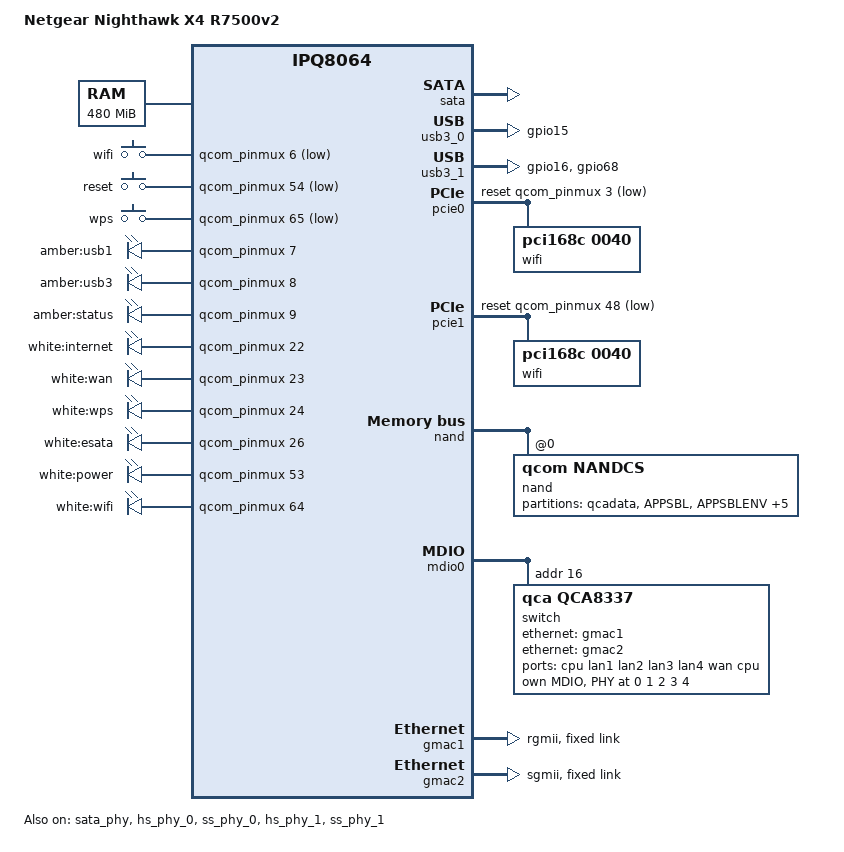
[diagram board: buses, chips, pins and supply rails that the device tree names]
#include "qcom-ipq8064-v2.0-smb208.dtsi"

#include <dt-bindings/input/input.h>

/ {
	model = "Netgear Nighthawk X4 R7500v2";
	compatible = "netgear,r7500v2", "qcom,ipq8064";

	memory@0 {
		reg = <0x42000000 0x1e000000>;
		device_type = "memory";
	};

	reserved-memory {
		rsvd@5fe00000 {
			reg = <0x5fe00000 0x200000>;
			reusable;
		};
	};

	aliases {
		mdio-gpio0 = &mdio0;

		led-boot = &power;
		led-failsafe = &power;
		led-running = &power;
		led-upgrade = &power;
	};

	chosen {
		bootargs = "rootfstype=squashfs noinitrd";
	};

	keys {
		compatible = "gpio-keys";
		pinctrl-0 = <&button_pins>;
		pinctrl-names = "default";

		wifi {
			label = "wifi";
			gpios = <&qcom_pinmux 6 GPIO_ACTIVE_LOW>;
			linux,code = <KEY_RFKILL>;
			debounce-interval = <60>;
			wakeup-source;
		};

		reset {
			label = "reset";
			gpios = <&qcom_pinmux 54 GPIO_ACTIVE_LOW>;
			linux,code = <KEY_RESTART>;
			debounce-interval = <60>;
			wakeup-source;
		};

		wps {
			label = "wps";
			gpios = <&qcom_pinmux 65 GPIO_ACTIVE_LOW>;
			linux,code = <KEY_WPS_BUTTON>;
			debounce-interval = <60>;
			wakeup-source;
		};
	};

	leds {
		compatible = "gpio-leds";
		pinctrl-0 = <&led_pins>;
		pinctrl-names = "default";

		usb1 {
			label = "amber:usb1";
			gpios = <&qcom_pinmux 7 GPIO_ACTIVE_HIGH>;
		};

		usb3 {
			label = "amber:usb3";
			gpios = <&qcom_pinmux 8 GPIO_ACTIVE_HIGH>;
		};

		status {
			label = "amber:status";
			gpios = <&qcom_pinmux 9 GPIO_ACTIVE_HIGH>;
		};

		internet {
			label = "white:internet";
			gpios = <&qcom_pinmux 22 GPIO_ACTIVE_HIGH>;
		};

		wan {
			label = "white:wan";
			gpios = <&qcom_pinmux 23 GPIO_ACTIVE_HIGH>;
		};

		wps {
			label = "white:wps";
			gpios = <&qcom_pinmux 24 GPIO_ACTIVE_HIGH>;
		};

		esata {
			label = "white:esata";
			gpios = <&qcom_pinmux 26 GPIO_ACTIVE_HIGH>;
		};

		power: power {
			label = "white:power";
			gpios = <&qcom_pinmux 53 GPIO_ACTIVE_HIGH>;
			default-state = "keep";
		};

		wifi {
			label = "white:wifi";
			gpios = <&qcom_pinmux 64 GPIO_ACTIVE_HIGH>;
		};
	};
};

&adm_dma {
	status = "okay";
};

&qcom_pinmux {
	button_pins: button_pins {
		mux {
			pins = "gpio6", "gpio54", "gpio65";
			function = "gpio";
			drive-strength = <2>;
			bias-pull-up;
		};
	};

	led_pins: led_pins {
		mux {
			pins = "gpio7", "gpio8", "gpio9", "gpio22", "gpio23",
				"gpio24","gpio26", "gpio53", "gpio64";
			function = "gpio";
			drive-strength = <2>;
			bias-pull-up;
		};
	};

	usb0_pwr_en_pins: usb0_pwr_en_pins {
		mux {
			pins = "gpio15";
			function = "gpio";
			drive-strength = <12>;
			bias-pull-down;
			output-high;
		};
	};

	usb1_pwr_en_pins: usb1_pwr_en_pins {
		mux {
			pins = "gpio16", "gpio68";
			function = "gpio";
			drive-strength = <12>;
			bias-pull-down;
			output-high;
		};
	};
};

&sata_phy {
	status = "okay";
};

&sata {
	status = "okay";
};

&hs_phy_0 {
	status = "okay";
};

&ss_phy_0 {
	status = "okay";
};

&usb3_0 {
	status = "okay";

	pinctrl-0 = <&usb0_pwr_en_pins>;
	pinctrl-names = "default";
};

&hs_phy_1 {
	status = "okay";
};

&ss_phy_1 {
	status = "okay";
};

&usb3_1 {
	status = "okay";

	pinctrl-0 = <&usb1_pwr_en_pins>;
	pinctrl-names = "default";
};

&pcie0 {
	status = "okay";
	reset-gpio = <&qcom_pinmux 3 GPIO_ACTIVE_LOW>;
	pinctrl-0 = <&pcie0_pins>;
	pinctrl-names = "default";

	bridge@0,0 {
		reg = <0x00000000 0 0 0 0>;
		#address-cells = <3>;
		#size-cells = <2>;
		ranges;

		wifi@1,0 {
			compatible = "pci168c,0040";
			reg = <0x00010000 0 0 0 0>;

			nvmem-cells = <&macaddr_art_6 1>, <&precal_art_1000>;
			nvmem-cell-names = "mac-address", "pre-calibration";
		};
	};
};

&pcie1 {
	status = "okay";
	reset-gpio = <&qcom_pinmux 48 GPIO_ACTIVE_LOW>;
	pinctrl-0 = <&pcie1_pins>;
	pinctrl-names = "default";
	max-link-speed = <1>;

	bridge@0,0 {
		reg = <0x00000000 0 0 0 0>;
		#address-cells = <3>;
		#size-cells = <2>;
		ranges;

		wifi@1,0 {
			compatible = "pci168c,0040";
			reg = <0x00010000 0 0 0 0>;

			nvmem-cells = <&macaddr_art_6 2>, <&precal_art_5000>;
			nvmem-cell-names = "mac-address", "pre-calibration";
		};
	};
};

&nand {
	status = "okay";

	nand@0 {
		reg = <0>;
		compatible = "qcom,nandcs";

		nand-ecc-strength = <4>;
		nand-bus-width = <8>;
		nand-ecc-step-size = <512>;

		nand-is-boot-medium;
		qcom,boot-partitions = <0x0 0x1180000>;

		partitions {
			compatible = "fixed-partitions";
			#address-cells = <1>;
			#size-cells = <1>;

			qcadata@0 {
				label = "qcadata";
				reg = <0x0000000 0x0c80000>;
				read-only;
			};

			APPSBL@c80000 {
				label = "APPSBL";
				reg = <0x0c80000 0x0500000>;
				read-only;
			};

			APPSBLENV@1180000 {
				label = "APPSBLENV";
				reg = <0x1180000 0x0080000>;
				read-only;
			};

			art@1200000 {
				label = "art";
				reg = <0x1200000 0x0140000>;
				read-only;

				nvmem-layout {
					compatible = "fixed-layout";
					#address-cells = <1>;
					#size-cells = <1>;

					macaddr_art_0: macaddr@0 {
						reg = <0x0 0x6>;
					};

					macaddr_art_6: macaddr@6 {
						compatible = "mac-base";
						reg = <0x6 0x6>;
						#nvmem-cell-cells = <1>;
					};

					precal_art_1000: precal@1000 {
						reg = <0x1000 0x2f20>;
					};

					precal_art_5000: precal@5000 {
						reg = <0x5000 0x2f20>;
					};
				};
			};

			artbak: art@1340000 {
				label = "artbak";
				reg = <0x1340000 0x0140000>;
				read-only;
			};

			kernel@1480000 {
				label = "kernel";
				reg = <0x1480000 0x0400000>;
			};

			ubi@1880000 {
				label = "ubi";
				reg = <0x1880000 0x6080000>;
			};

			reserve@7900000 {
				label = "reserve";
				reg = <0x7900000 0x0700000>;
				read-only;
			};
		};
	};
};

&mdio0 {
	status = "okay";

	pinctrl-0 = <&mdio0_pins>;
	pinctrl-names = "default";

	switch@10 {
		compatible = "qca,qca8337";
		#address-cells = <1>;
		#size-cells = <0>;
		reg = <0x10>;

		ports {
			#address-cells = <1>;
			#size-cells = <0>;

			port@0 {
				reg = <0>;
				label = "cpu";
				ethernet = <&gmac1>;
				phy-mode = "rgmii";
				tx-internal-delay-ps = <1000>;
				rx-internal-delay-ps = <1000>;

				fixed-link {
					speed = <1000>;
					full-duplex;
				};
			};

			port@1 {
				reg = <1>;
				label = "lan1";
				phy-mode = "internal";
				phy-handle = <&phy_port1>;
			};

			port@2 {
				reg = <2>;
				label = "lan2";
				phy-mode = "internal";
				phy-handle = <&phy_port2>;
			};

			port@3 {
				reg = <3>;
				label = "lan3";
				phy-mode = "internal";
				phy-handle = <&phy_port3>;
			};

			port@4 {
				reg = <4>;
				label = "lan4";
				phy-mode = "internal";
				phy-handle = <&phy_port4>;
			};

			port@5 {
				reg = <5>;
				label = "wan";
				phy-mode = "internal";
				phy-handle = <&phy_port5>;
			};

			port@6 {
				reg = <6>;
				label = "cpu";
				ethernet = <&gmac2>;
				phy-mode = "sgmii";
				qca,sgmii-enable-pll;

				fixed-link {
					speed = <1000>;
					full-duplex;
				};
			};
		};

		mdio {
			#address-cells = <1>;
			#size-cells = <0>;

			phy_port1: phy@0 {
				reg = <0>;
			};

			phy_port2: phy@1 {
				reg = <1>;
			};

			phy_port3: phy@2 {
				reg = <2>;
			};

			phy_port4: phy@3 {
				reg = <3>;
			};

			phy_port5: phy@4 {
				reg = <4>;
			};
		};
	};
};

&gmac1 {
	status = "okay";
	phy-mode = "rgmii";
	qcom,id = <1>;

	pinctrl-0 = <&rgmii2_pins>;
	pinctrl-names = "default";

	nvmem-cells = <&macaddr_art_6 0>;
	nvmem-cell-names = "mac-address";

	fixed-link {
		speed = <1000>;
		full-duplex;
	};
};

&gmac2 {
	status = "okay";
	phy-mode = "sgmii";
	qcom,id = <2>;

	nvmem-cells = <&macaddr_art_0>;
	nvmem-cell-names = "mac-address";

	fixed-link {
		speed = <1000>;
		full-duplex;
	};
};
